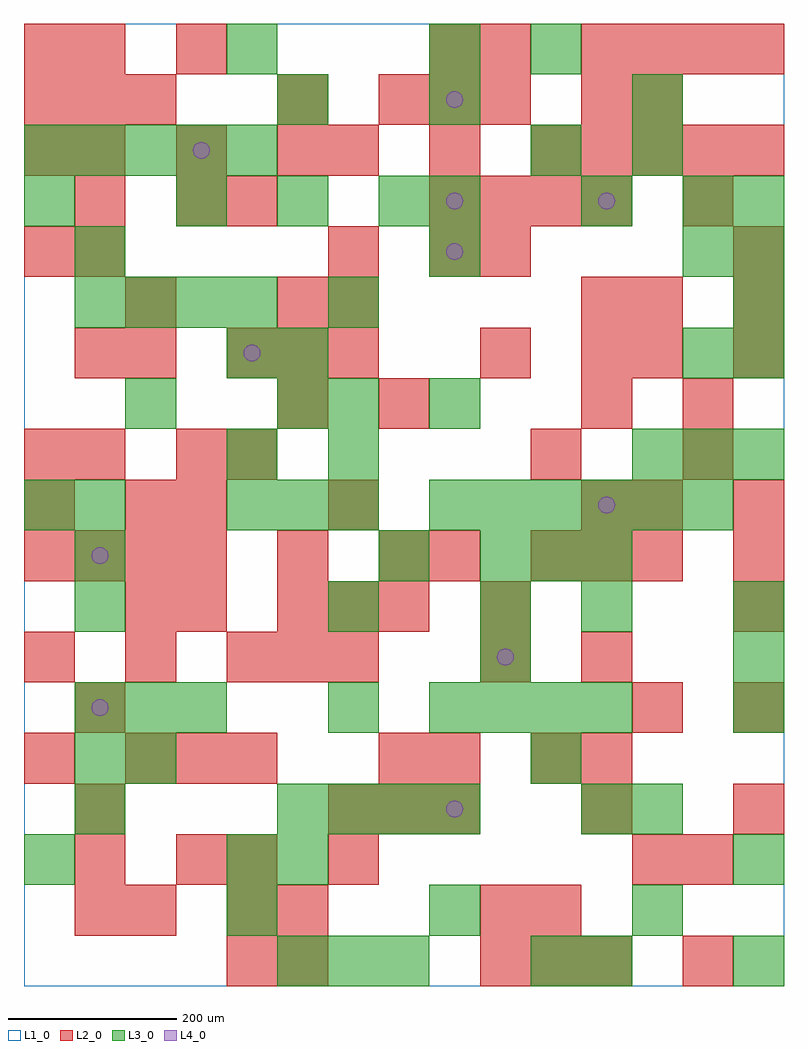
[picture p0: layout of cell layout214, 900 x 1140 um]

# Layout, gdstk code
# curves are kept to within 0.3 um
import gdstk
lib = gdstk.Library(unit=1e-6, precision=1e-09)
def R(c, l, rs):  # rectangles x0, y0, x1, y1
    for r in rs: c.add(gdstk.rectangle(r[:2], r[2:], *l))
def A(c, l, x, y, w, h, nx, ny, dx, dy):  # array of equal rectangles
    R(c, l, [(x+i*dx, y+j*dy, x+i*dx+w, y+j*dy+h) for i in range(nx) for j in range(ny)])
def P(c, l, *ps):  # polygons
    for p in ps: c.add(gdstk.Polygon(p, *l))
L1_0 = (1, 0)
L2_0 = (2, 0)
L3_0 = (3, 0)
L4_0 = (4, 0)

layout214 = lib.new_cell('layout214')
R(layout214, L1_0, [(0,0,900,1140)])
A(layout214, L2_0, 240, 0, 60, 60, 1, 3, 0, 60)
A(layout214, L2_0, 540, 0, 60, 60, 3, 1, 60, 0)
A(layout214, L2_0, 60, 60, 60, 60, 1, 3, 0, 60)
A(layout214, L2_0, 360, 180, 60, 60, 3, 1, 60, 0)
A(layout214, L2_0, 840, 180, 60, 60, 1, 3, 0, 120)
A(layout214, L2_0, 120, 240, 60, 60, 3, 1, 60, 0)
A(layout214, L2_0, 0, 360, 60, 60, 3, 1, 120, 0)
A(layout214, L2_0, 300, 420, 60, 60, 3, 1, 60, 0)
A(layout214, L2_0, 0, 480, 60, 60, 4, 1, 60, 0)
A(layout214, L2_0, 600, 480, 60, 60, 3, 1, 60, 0)
A(layout214, L2_0, 60, 600, 60, 60, 1, 3, 0, 120)
A(layout214, L2_0, 660, 660, 60, 60, 1, 3, 0, 60)
A(layout214, L2_0, 240, 720, 60, 60, 3, 1, 60, 0)
A(layout214, L2_0, 840, 720, 60, 60, 1, 3, 0, 60)
A(layout214, L2_0, 0, 840, 60, 60, 1, 3, 0, 120)
A(layout214, L2_0, 480, 900, 60, 60, 4, 1, 60, 0)
A(layout214, L2_0, 60, 960, 60, 60, 3, 1, 120, 0)
A(layout214, L2_0, 360, 960, 60, 60, 3, 1, 120, 0)
A(layout214, L2_0, 660, 960, 60, 60, 4, 2, 60, 120)
A(layout214, L2_0, 0, 1020, 60, 60, 3, 1, 60, 0)
A(layout214, L2_0, 420, 1020, 60, 60, 3, 1, 60, 0)
R(layout214, L2_0, [(300,0,360,60), (780,0,840,60), (120,60,180,120), (300,60,360,120), (540,60,600,120), (600,60,660,120), (180,120,240,180), (360,120,420,180), (720,120,780,180), (780,120,840,180), (660,180,720,240), (0,240,60,300), (420,240,480,300), (480,240,540,300), (600,240,660,300), (660,240,720,300), (60,300,120,360), (720,300,780,360), (300,360,360,420), (360,360,420,420), (540,360,600,420), (660,360,720,420), (120,420,180,480), (180,420,240,480), (540,420,600,480), (300,480,360,540), (420,480,480,540), (480,480,540,540), (840,480,900,540), (0,540,60,600), (120,540,180,600), (180,540,240,600), (360,540,420,600), (660,540,720,600), (720,540,780,600), (840,540,900,600), (0,600,60,660), (180,600,240,660), (240,600,300,660), (600,600,660,660), (780,600,840,660), (300,660,360,720), (420,660,480,720), (780,660,840,720), (120,720,180,780), (540,720,600,780), (720,720,780,780), (120,780,180,840), (300,780,360,840), (360,780,420,840), (720,780,780,840), (360,840,420,900), (480,840,540,900), (540,840,600,900), (60,900,120,960), (180,900,240,960), (240,900,300,960), (780,900,840,960), (300,1020,360,1080), (660,1020,720,1080), (720,1020,780,1080), (60,1080,120,1140), (180,1080,240,1140), (480,1080,540,1140), (540,1080,600,1140)])
A(layout214, L3_0, 300, 0, 60, 60, 3, 1, 60, 0)
A(layout214, L3_0, 240, 60, 60, 60, 3, 1, 240, 0)
A(layout214, L3_0, 300, 180, 60, 60, 4, 1, 60, 0)
A(layout214, L3_0, 60, 300, 60, 60, 3, 1, 60, 0)
A(layout214, L3_0, 480, 300, 60, 60, 4, 1, 60, 0)
A(layout214, L3_0, 840, 300, 60, 60, 1, 3, 0, 60)
A(layout214, L3_0, 60, 420, 60, 60, 1, 3, 0, 60)
A(layout214, L3_0, 540, 480, 60, 60, 3, 1, 60, 0)
A(layout214, L3_0, 240, 540, 60, 60, 3, 1, 60, 0)
A(layout214, L3_0, 480, 540, 60, 60, 6, 1, 60, 0)
A(layout214, L3_0, 720, 600, 60, 60, 3, 1, 60, 0)
A(layout214, L3_0, 840, 720, 60, 60, 1, 4, 0, 60)
A(layout214, L3_0, 60, 780, 60, 60, 4, 1, 60, 0)
A(layout214, L3_0, 180, 900, 60, 60, 3, 1, 120, 0)
A(layout214, L3_0, 0, 960, 60, 60, 5, 1, 60, 0)
R(layout214, L3_0, [(600,0,660,60), (660,0,720,60), (840,0,900,60), (0,120,60,180), (240,120,300,180), (300,120,360,180), (840,120,900,180), (60,180,120,240), (660,180,720,240), (720,180,780,240), (60,240,120,300), (120,240,180,300), (600,240,660,300), (360,300,420,360), (540,360,600,420), (360,420,420,480), (540,420,600,480), (660,420,720,480), (420,480,480,540), (0,540,60,600), (240,600,300,660), (360,600,420,660), (120,660,180,720), (300,660,360,720), (360,660,420,720), (480,660,540,720), (240,720,300,780), (300,720,360,780), (780,720,840,780), (360,780,420,840), (60,840,120,900), (480,840,540,900), (780,840,840,900), (0,900,60,960), (480,900,540,960), (660,900,720,960), (780,900,840,960), (600,960,660,1020), (720,960,780,1020), (300,1020,360,1080), (480,1020,540,1080), (720,1020,780,1080), (240,1080,300,1140), (480,1080,540,1140), (600,1080,660,1140)])
P(layout214, L4_0, [(100,330),(99.239,333.827),(97.071,337.071),(93.827,339.239),(90,340),(86.173,339.239),(82.929,337.071),(80.761,333.827),(80,330),(80.761,326.173),(82.929,322.929),(86.173,320.761),(90,320),(93.827,320.761),(97.071,322.929),(99.239,326.173)],
  [(100,510),(99.239,513.827),(97.071,517.071),(93.827,519.239),(90,520),(86.173,519.239),(82.929,517.071),(80.761,513.827),(80,510),(80.761,506.173),(82.929,502.929),(86.173,500.761),(90,500),(93.827,500.761),(97.071,502.929),(99.239,506.173)],
  [(220,990),(219.239,993.827),(217.071,997.071),(213.827,999.239),(210,1000),(206.173,999.239),(202.929,997.071),(200.761,993.827),(200,990),(200.761,986.173),(202.929,982.929),(206.173,980.761),(210,980),(213.827,980.761),(217.071,982.929),(219.239,986.173)],
  [(280,750),(279.239,753.827),(277.071,757.071),(273.827,759.239),(270,760),(266.173,759.239),(262.929,757.071),(260.761,753.827),(260,750),(260.761,746.173),(262.929,742.929),(266.173,740.761),(270,740),(273.827,740.761),(277.071,742.929),(279.239,746.173)],
  [(520,210),(519.239,213.827),(517.071,217.071),(513.827,219.239),(510,220),(506.173,219.239),(502.929,217.071),(500.761,213.827),(500,210),(500.761,206.173),(502.929,202.929),(506.173,200.761),(510,200),(513.827,200.761),(517.071,202.929),(519.239,206.173)],
  [(520,870),(519.239,873.827),(517.071,877.071),(513.827,879.239),(510,880),(506.173,879.239),(502.929,877.071),(500.761,873.827),(500,870),(500.761,866.173),(502.929,862.929),(506.173,860.761),(510,860),(513.827,860.761),(517.071,862.929),(519.239,866.173)],
  [(520,930),(519.239,933.827),(517.071,937.071),(513.827,939.239),(510,940),(506.173,939.239),(502.929,937.071),(500.761,933.827),(500,930),(500.761,926.173),(502.929,922.929),(506.173,920.761),(510,920),(513.827,920.761),(517.071,922.929),(519.239,926.173)],
  [(520,1050),(519.239,1053.827),(517.071,1057.071),(513.827,1059.239),(510,1060),(506.173,1059.239),(502.929,1057.071),(500.761,1053.827),(500,1050),(500.761,1046.173),(502.929,1042.929),(506.173,1040.761),(510,1040),(513.827,1040.761),(517.071,1042.929),(519.239,1046.173)],
  [(580,390),(579.239,393.827),(577.071,397.071),(573.827,399.239),(570,400),(566.173,399.239),(562.929,397.071),(560.761,393.827),(560,390),(560.761,386.173),(562.929,382.929),(566.173,380.761),(570,380),(573.827,380.761),(577.071,382.929),(579.239,386.173)],
  [(700,570),(699.239,573.827),(697.071,577.071),(693.827,579.239),(690,580),(686.173,579.239),(682.929,577.071),(680.761,573.827),(680,570),(680.761,566.173),(682.929,562.929),(686.173,560.761),(690,560),(693.827,560.761),(697.071,562.929),(699.239,566.173)],
  [(700,930),(699.239,933.827),(697.071,937.071),(693.827,939.239),(690,940),(686.173,939.239),(682.929,937.071),(680.761,933.827),(680,930),(680.761,926.173),(682.929,922.929),(686.173,920.761),(690,920),(693.827,920.761),(697.071,922.929),(699.239,926.173)])

lib.write_gds('layout214.gds')
